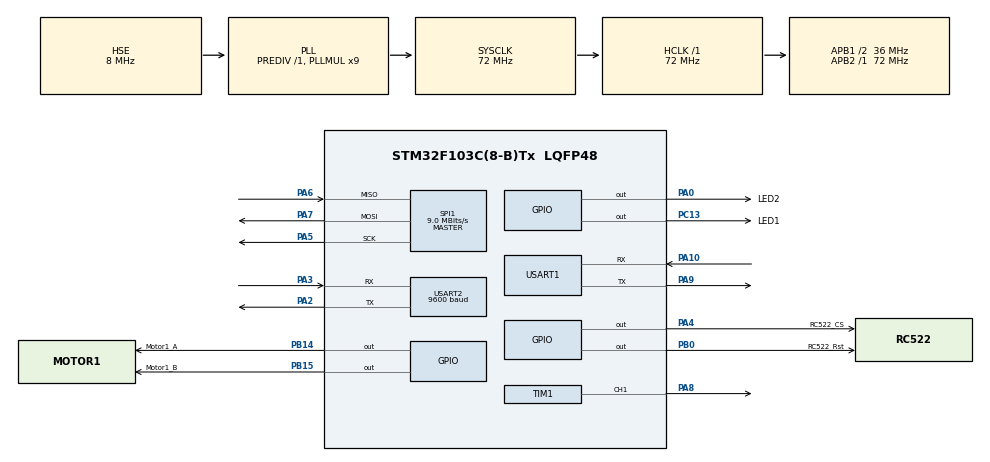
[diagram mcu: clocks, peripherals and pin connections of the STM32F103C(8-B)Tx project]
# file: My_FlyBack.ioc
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Dma.Request0=USART2_RX
Dma.Request1=USART2_TX
Dma.USART2_RX.0.Direction=DMA_PERIPH_TO_MEMORY
Dma.USART2_RX.0.Instance=DMA1_Channel6
Dma.USART2_RX.0.MemDataAlignment=DMA_MDATAALIGN_BYTE
Dma.USART2_RX.0.MemInc=DMA_MINC_ENABLE
Dma.USART2_RX.0.Mode=DMA_CIRCULAR
Dma.USART2_RX.0.PeriphDataAlignment=DMA_PDATAALIGN_BYTE
Dma.USART2_RX.0.PeriphInc=DMA_PINC_DISABLE
Dma.USART2_RX.0.Priority=DMA_PRIORITY_HIGH
Dma.USART2_TX.1.Direction=DMA_MEMORY_TO_PERIPH
Dma.USART2_TX.1.Instance=DMA1_Channel7
Dma.USART2_TX.1.MemDataAlignment=DMA_MDATAALIGN_BYTE
Dma.USART2_TX.1.MemInc=DMA_MINC_ENABLE
Dma.USART2_TX.1.Mode=DMA_CIRCULAR
Dma.USART2_TX.1.PeriphDataAlignment=DMA_PDATAALIGN_BYTE
Dma.USART2_TX.1.PeriphInc=DMA_PINC_DISABLE
Dma.USART2_TX.1.Priority=DMA_PRIORITY_LOW
Mcu.Family=STM32F1
Mcu.Name=STM32F103C(8-B)Tx
Mcu.Package=LQFP48
NVIC.DMA1_Channel6_IRQn=true\:0\:0\:false\:false\:true\:false\:true\:true
NVIC.DMA1_Channel7_IRQn=true\:0\:0\:false\:false\:true\:false\:true\:true
NVIC.PriorityGroup=NVIC_PRIORITYGROUP_4
NVIC.TIM2_IRQn=true\:2\:0\:true\:false\:true\:true\:true\:true
NVIC.USART2_IRQn=true\:0\:0\:false\:false\:true\:true\:true\:true
PA0-WKUP.GPIO_Label=LED2
PA0-WKUP.Signal=GPIO_Output
PA10.Mode=Asynchronous
PA10.Signal=USART1_RX
PA13.Mode=Serial_Wire
PA13.Signal=SYS_JTMS-SWDIO
PA14.Mode=Serial_Wire
PA14.Signal=SYS_JTCK-SWCLK
PA2.Mode=Asynchronous
PA2.Signal=USART2_TX
PA3.Mode=Asynchronous
PA3.Signal=USART2_RX
PA4.GPIO_Label=RC522_CS
PA4.Signal=GPIO_Output
PA5.Mode=Full_Duplex_Master
PA5.Signal=SPI1_SCK
PA6.Mode=Full_Duplex_Master
PA6.Signal=SPI1_MISO
PA7.Mode=Full_Duplex_Master
PA7.Signal=SPI1_MOSI
PA8.Signal=S_TIM1_CH1
PA9.Mode=Asynchronous
PA9.Signal=USART1_TX
PB0.GPIO_Label=RC522_Rst
PB0.Signal=GPIO_Output
PB14.GPIO_Label=Motor1_A
PB14.Signal=GPIO_Output
PB15.GPIO_Label=Motor1_B
PB15.Signal=GPIO_Output
PC13-TAMPER-RTC.GPIO_Label=LED1
PC13-TAMPER-RTC.Signal=GPIO_Output
PD0-OSC_IN.Mode=HSE-External-Oscillator
PD0-OSC_IN.Signal=RCC_OSC_IN
PD1-OSC_OUT.Mode=HSE-External-Oscillator
PD1-OSC_OUT.Signal=RCC_OSC_OUT
ProjectManager.HeapSize=0x200
ProjectManager.StackSize=0x400
ProjectManager.TargetToolchain=SW4STM32
RCC.AHBFreq_Value=72000000
RCC.APB1CLKDivider=RCC_HCLK_DIV2
RCC.APB1Freq_Value=36000000
RCC.APB1TimFreq_Value=72000000
RCC.APB2Freq_Value=72000000
RCC.APB2TimFreq_Value=72000000
RCC.HCLKFreq_Value=72000000
RCC.PLLMUL=RCC_PLL_MUL9
RCC.PLLSourceVirtual=RCC_PLLSOURCE_HSE
RCC.SYSCLKFreq_VALUE=72000000
RCC.SYSCLKSource=RCC_SYSCLKSOURCE_PLLCLK
RCC.USBFreq_Value=72000000
SH.S_TIM1_CH1.0=TIM1_CH1,PWM Generation1 CH1
SPI1.BaudRatePrescaler=SPI_BAUDRATEPRESCALER_8
SPI1.CalculateBaudRate=9.0 MBits/s
SPI1.Direction=SPI_DIRECTION_2LINES
SPI1.Mode=SPI_MODE_MASTER
SPI1.VirtualType=VM_MASTER
TIM1.Channel-PWM\ Generation1\ CH1=TIM_CHANNEL_1
TIM1.Period=100 - 1
TIM1.Prescaler=720 - 1
TIM1.Pulse-PWM\ Generation1\ CH1=50
TIM2.Period=1000 - 1
TIM2.Prescaler=720 - 1
USART1.VirtualMode=VM_ASYNC
USART2.BaudRate=9600
USART2.VirtualMode=VM_ASYNC
VP_TIM1_VS_ClockSourceINT.Mode=Internal
VP_TIM2_VS_ClockSourceINT.Mode=Internal
board=custom

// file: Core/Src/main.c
/* USER CODE BEGIN Header */
/**
  ******************************************************************************
  * @file           : main.c
  * @brief          : Main program body
  ******************************************************************************
  * @attention
  *
  * Copyright (c) 2023 STMicroelectronics.
  * All rights reserved.
  *
  * This software is licensed under terms that can be found in the LICENSE file
  * in the root directory of this software component.
  * If no LICENSE file comes with this software, it is provided AS-IS.
  *
  ******************************************************************************
  */
/* USER CODE END Header */
#include "main.h"
#include "dma.h"
#include "spi.h"
#include "tim.h"
#include "usart.h"
#include "gpio.h"

/* USER CODE BEGIN Includes */
#include "string.h"
#include "retarget.h"
#include "Motor.h"
#include "MFRC522.h"
#include "Uart_RxPackage.h"
/* USER CODE END Includes */

void SystemClock_Config(void);

/* USER CODE BEGIN 0 */
MOTOR Motor1;
uint8_t k = 0;
uint16_t i = 0,j = 0;
UartRx_Package Uart2_Package;
uint8_t Last_Package[200];
/* USER CODE END 0 */

int main(void)
{

  /* MCU Configuration--------------------------------------------------------*/

  /* Reset of all peripherals, Initializes the Flash interface and the Systick. */
  HAL_Init();

  /* USER CODE BEGIN Init */
    RetargetInit(&huart2);
    //HAL_DMA_Start(&hdma1,);
  /* USER CODE END Init */

  /* Configure the system clock */
  SystemClock_Config();

  /* Initialize all configured peripherals */
  MX_GPIO_Init();
  MX_TIM1_Init();
  MX_TIM2_Init();
  MX_DMA_Init();
  MX_SPI1_Init();
  MX_USART2_UART_Init();
  MX_USART1_UART_Init();
  /* USER CODE BEGIN 2 */
    HAL_TIM_Base_Start_IT(&htim2);
    HAL_TIM_PWM_Start(&htim1,TIM_CHANNEL_1);

    Uart_RxPackage_Init(&Uart2_Package,200,&huart2); //初始化串口接收数组
    uint8_t Pure_Package[200];
    HAL_Delay(250);
    Motor_Init(&Motor1); //电机初始化

    //__HAL_TIM_SET_COMPARE(&htim1,TIM_CHANNEL_1,50);
//    for(k = 0;k<40;k++)
//    {
//        __HAL_TIM_SET_COMPARE(&htim1,TIM_CHANNEL_1,k);
//        HAL_Delay(125);
//    }
//    for(k = 40;k<=100;k++)
//    {
//        __HAL_TIM_SET_COMPARE(&htim1,TIM_CHANNEL_1,k);
//        HAL_Delay(100-k);
//    }

    HAL_UART_Receive_DMA(&huart2,&Uart2_Package.TempData,1);
  /* USER CODE END 2 */

  /* Infinite loop */
  while (1)
  {

    /* USER CODE BEGIN 3 */
      if(LED_Flag == 0) HAL_GPIO_WritePin(LED2_GPIO_Port,LED2_Pin,GPIO_PIN_RESET);
      if(Uart2_Package.RxEndFalg == 1) //说明串口中断接收结束
        {
            Uart_UpPack(Uart2_Package.Rx_Package,Uart2_Package.Cur_RxLength,Pure_Package);//检验数据的正确性及去掉帧头帧尾
            if(strcmp(Pure_Package,Last_Package) != 0)//这次读到的数据和上一次的不一样
            {
                HAL_GPIO_WritePin(LED2_GPIO_Port,LED2_Pin,GPIO_PIN_SET);
                HAL_UART_Transmit(&huart2,Pure_Package,Uart2_Package.Cur_RxLength-12,999);
            }
            memset(Last_Package,0,200);
            for(j = 0;j<Uart2_Package.Cur_RxLength-11;j++) //存储上一次的数据
            {
                *(Last_Package+j) = *(Pure_Package+j);
            }
            //printf("Status:%d",Uart_UpPack(Uart2_Package.Rx_Package,Uart2_Package.Cur_RxLength));
            Uart2_Package.RxEndFalg = 0;
            Uart2_Package.Cur_RxLength = 0;
            memset(Uart2_Package.Rx_Package,2,sizeof(uint8_t)*Uart2_Package.Cur_RxLength); //初始化接收数组
            memset(Pure_Package,0,sizeof(Pure_Package));
        }
        else if(Uart2_Package.RxEndFalg == 0)  //电机加速
        {
            if(k<40)
            {
                __HAL_TIM_SET_COMPARE(&htim1,TIM_CHANNEL_1,k);
                k++;
                HAL_Delay(125);
            }
            else if(k >= 40 && k<=100)
            {
                __HAL_TIM_SET_COMPARE(&htim1,TIM_CHANNEL_1,k);
                HAL_Delay(100-k);
                k++;
            }
        }
  }
  /* USER CODE END 3 */
}

void SystemClock_Config(void)
{
  RCC_OscInitTypeDef RCC_OscInitStruct = {0};
  RCC_ClkInitTypeDef RCC_ClkInitStruct = {0};

  /** Initializes the RCC Oscillators according to the specified parameters
  * in the RCC_OscInitTypeDef structure.
  */
  RCC_OscInitStruct.OscillatorType = RCC_OSCILLATORTYPE_HSE;
  RCC_OscInitStruct.HSEState = RCC_HSE_ON;
  RCC_OscInitStruct.HSEPredivValue = RCC_HSE_PREDIV_DIV1;
  RCC_OscInitStruct.HSIState = RCC_HSI_ON;
  RCC_OscInitStruct.PLL.PLLState = RCC_PLL_ON;
  RCC_OscInitStruct.PLL.PLLSource = RCC_PLLSOURCE_HSE;
  RCC_OscInitStruct.PLL.PLLMUL = RCC_PLL_MUL9;
  if (HAL_RCC_OscConfig(&RCC_OscInitStruct) != HAL_OK)
  {
    Error_Handler();
  }

  /** Initializes the CPU, AHB and APB buses clocks
  */
  RCC_ClkInitStruct.ClockType = RCC_CLOCKTYPE_HCLK|RCC_CLOCKTYPE_SYSCLK
                              |RCC_CLOCKTYPE_PCLK1|RCC_CLOCKTYPE_PCLK2;
  RCC_ClkInitStruct.SYSCLKSource = RCC_SYSCLKSOURCE_PLLCLK;
  RCC_ClkInitStruct.AHBCLKDivider = RCC_SYSCLK_DIV1;
  RCC_ClkInitStruct.APB1CLKDivider = RCC_HCLK_DIV2;
  RCC_ClkInitStruct.APB2CLKDivider = RCC_HCLK_DIV1;

  if (HAL_RCC_ClockConfig(&RCC_ClkInitStruct, FLASH_LATENCY_2) != HAL_OK)
  {
    Error_Handler();
  }
}

void Error_Handler(void)
{
  __disable_irq();
  while (1)
  {
  }
}
